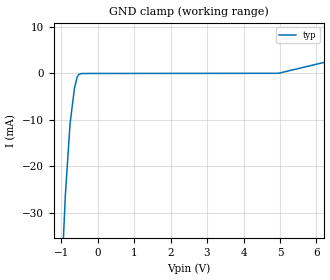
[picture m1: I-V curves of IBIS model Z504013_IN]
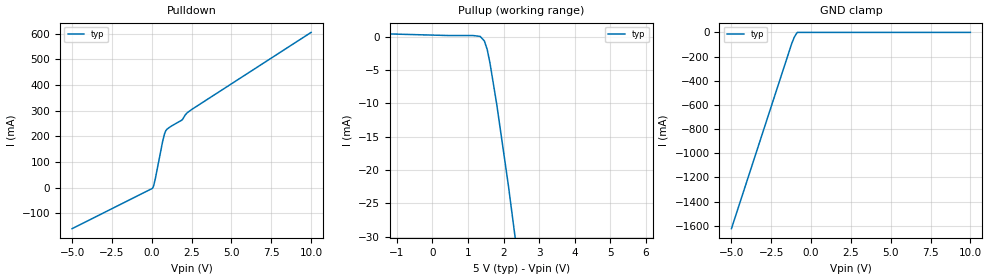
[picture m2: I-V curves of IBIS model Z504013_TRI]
| YOU ARE ONLY AUTHORIZED TO USE THIS SOFTWARE
| ACCORDING TO LICENSOR'S LICENSE RESTRICTIONS.
[IBIS Ver] 3.1
[File Name] mc74f366d.ibs
[File Rev] 2.0
[Source] Measured and created by ICX Technology
[Date] Friday 7/14/00 9:08:05 AM
[Copyright]
| (C) COPYRIGHT 1993-2000
| MENTOR GRAPHICS CORPORATION
| ICX STANDARD LIBRARY, ICX PROJECT MODELING,
| ICX CUSTOM MODELING, ICX VENDOR MODEL
| ALL RIGHTS RESERVED.
| THE FOLLOWING ARE TRADEMARKS OR SERVICE MARKS OF
| MENTOR GRAPHICS CORPORATION:ICX (R), ICX STANDARD
| LIBRARY(R), ICX PROJECT MODELING(R), ICX CUSTOM
| MODELING(R), qualityIBIS(TM), MODELVIEWER(TM),
| AND MODELEDITOR(TM)
| ALL COPIES OF SOFTWARE, INCLUDING BUT NOT LIMITED TO
| ANY MODIFICATIONS, ENHANCEMENTS OR DERIVATIVE WORKS,
| MUST CONTAIN ALL MENTOR GRAPHICS CORPORATION'S
| NOTICES AND LEGENDS, INCLUDING THOSE EMBEDDED IN
| SOFTWARE AND THOSE AFFIXED TO SOFTWARE MEDIUM
| AND CONTAINER, AS RECEIVED FROM MENTOR GRAPHICS
| CORPORATION.
|  ZAP Model Builder 2.7
[Component] MC74F366D
[Manufacturer] OnSemiconductor
[Package]
| variable   typ   min   max
R_pkg  .212ohms NA NA
L_pkg  4.758nH NA NA
C_pkg  1.143pF NA NA
[Pin] signal_name  model_name  R_pin  L_pin C_pin
1 _G1 Z504013_IN .224 7.258n 1.578p
2 A0 Z504013_IN .216 5.258n 1.288p
3 _Y0 Z504013_TRI .208 3.758n .998p
4 A1 Z504013_IN .2 2.758n .708p
5 _Y1 Z504013_TRI .2 2.758n .708p
6 A2 Z504013_IN .208 3.758n .998p
7 _Y2 Z504013_TRI .216 5.258n 1.288p
8 GROUND GND .224 7.258n 1.578p
9 _Y3 Z504013_TRI .224 7.258n 1.578p
10 A3 Z504013_IN .216 5.258n 1.288p
11 _Y4 Z504013_TRI .208 3.758n .998p
12 A4 Z504013_IN .2 2.758n .708p
13 _Y5 Z504013_TRI .2 2.758n .708p
14 A5 Z504013_IN .208 3.758n .998p
15 _G2 Z504013_IN .216 5.258n 1.288p
16 VCC POWER .224 7.258n 1.578p
| Models and submodels in the file (2): Z504013_IN (Input), Z504013_TRI (3-state)
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| (C) COPYRIGHT 1993-2000
| MENTOR GRAPHICS CORPORATION
| ICX STANDARD LIBRARY, ICX PROJECT MODELING,
| ICX CUSTOM MODELING, ICX VENDOR MODEL
| ALL RIGHTS RESERVED.
| THE FOLLOWING ARE TRADEMARKS OR SERVICE MARKS OF
| MENTOR GRAPHICS CORPORATION:ICX (R), ICX STANDARD
| LIBRARY(R), ICX PROJECT MODELING(R), ICX CUSTOM
| MODELING(R), qualityIBIS(TM), MODELVIEWER(TM),
| AND MODELEDITOR(TM)
| ALL COPIES OF SOFTWARE, INCLUDING BUT NOT LIMITED TO
| ANY MODIFICATIONS, ENHANCEMENTS OR DERIVATIVE WORKS,
| MUST CONTAIN ALL MENTOR GRAPHICS CORPORATION'S
| NOTICES AND LEGENDS, INCLUDING THOSE EMBEDDED IN
| SOFTWARE AND THOSE AFFIXED TO SOFTWARE MEDIUM
| AND CONTAINER, AS RECEIVED FROM MENTOR GRAPHICS
| CORPORATION.
| Model Application Version 1.89 2/18/99.
[Model] Z504013_IN
Model_type Input
Vinl = 800.0mV
Vinh = 2.000V
C_comp 4.000pF NA NA
| variable typ   min   max
[Voltage Range] 5.000V NA NA
[GND Clamp Reference] 0.000V NA NA
[POWER Clamp Reference] 5.000V NA NA
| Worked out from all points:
|   GND clamp passes 1 mA (typ) near -0.57 V on its own axis
[GND Clamp]
-5V       -741.2mA   NA         NA
-883.7mV  -26.16mA   NA         NA
-756.1mV  -10.91mA   NA         NA
-634.6mV  -3.171mA   NA         NA
-561.5mV  -822.2uA   NA         NA
-527.3mV  -322.1uA   NA         NA
-503.2mV  -173.5uA   NA         NA
-448.7mV  -17.38uA   NA         NA
-224.4mV  -1.308uA   NA         NA
4.912V    38.9uA     NA         NA
4.974V    68.33uA    NA         NA
10V       9.465mA    NA         NA
[POWER Clamp]
-5V       0A         NA         NA
10V       0A         NA         NA
| (C) COPYRIGHT 1993-2000
| MENTOR GRAPHICS CORPORATION
| ICX STANDARD LIBRARY, ICX PROJECT MODELING,
| ICX CUSTOM MODELING, ICX VENDOR MODEL
| ALL RIGHTS RESERVED.
| THE FOLLOWING ARE TRADEMARKS OR SERVICE MARKS OF
| MENTOR GRAPHICS CORPORATION:ICX (R), ICX STANDARD
| LIBRARY(R), ICX PROJECT MODELING(R), ICX CUSTOM
| MODELING(R), qualityIBIS(TM), MODELVIEWER(TM),
| AND MODELEDITOR(TM)
| ALL COPIES OF SOFTWARE, INCLUDING BUT NOT LIMITED TO
| ANY MODIFICATIONS, ENHANCEMENTS OR DERIVATIVE WORKS,
| MUST CONTAIN ALL MENTOR GRAPHICS CORPORATION'S
| NOTICES AND LEGENDS, INCLUDING THOSE EMBEDDED IN
| SOFTWARE AND THOSE AFFIXED TO SOFTWARE MEDIUM
| AND CONTAINER, AS RECEIVED FROM MENTOR GRAPHICS
| CORPORATION.
| Model Application Version 1.89 2/18/99.
[Model] Z504013_TRI
Model_type 3-state
Vref=0.000V
Rref=500.0ohms
Cref=50.00pF
Vmeas=1.500V
C_comp 8.000pF NA NA
| variable typ   min   max
[Voltage Range] 5.000V NA NA
[POWER Clamp Reference] 5.000V NA NA
[Pullup Reference] 5.000V NA NA
[Pulldown Reference] 0.000V NA NA
[GND Clamp Reference] 0.000V NA NA
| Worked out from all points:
|   slope of the pulldown table from 0 to 0.75 V, typ, clamps not added: 3.73 ohm
|   slope of the pullup table from 0 to 0.75 V, typ, clamps not added: 11.5 kohm
|   GND clamp passes 1 mA (typ) near -0.87 V on its own axis
[GND Clamp]
-5V       -1.624A    NA         NA
-1.221V   -94.17mA   NA         NA
-1.063V   -42.07mA   NA         NA
-937.5mV  -13.18mA   NA         NA
-859.4mV  0A         NA         NA
10V       0A         NA         NA
[Pulldown]
-5V       -159.8mA   NA         NA
33.57mV   -2.933mA   NA         NA
122.6mV   8.117mA    NA         NA
229.5mV   36.77mA    NA         NA
688.7mV   182.1mA    NA         NA
800.8mV   209.5mA    NA         NA
883.8mV   222.4mA    NA         NA
961.9mV   228.1mA    NA         NA
1.879V    262.9mA    NA         NA
2.207V    290.9mA    NA         NA
2.49V     304mA      NA         NA
10V       605.1mA    NA         NA
[Pullup]
-5V       959.2uA    NA         NA
455mV     180.1uA    NA         NA
1.144V    180.1uA    NA         NA
1.343V    51.35uA    NA         NA
1.46V     -619.4uA   NA         NA
1.543V    -1.948mA   NA         NA
1.618V    -3.918mA   NA         NA
1.811V    -10.19mA   NA         NA
2.139V    -22.39mA   NA         NA
10V       -344.7mA   NA         NA
[POWER Clamp]
-5V       0A         NA         NA
10V       0A         NA         NA
[Ramp]
| variable typ min max
dV/dt_r 1.938/2.017n NA NA
dV/dt_f 1.938/319.3p NA NA
R_load = 500.0Ohms
